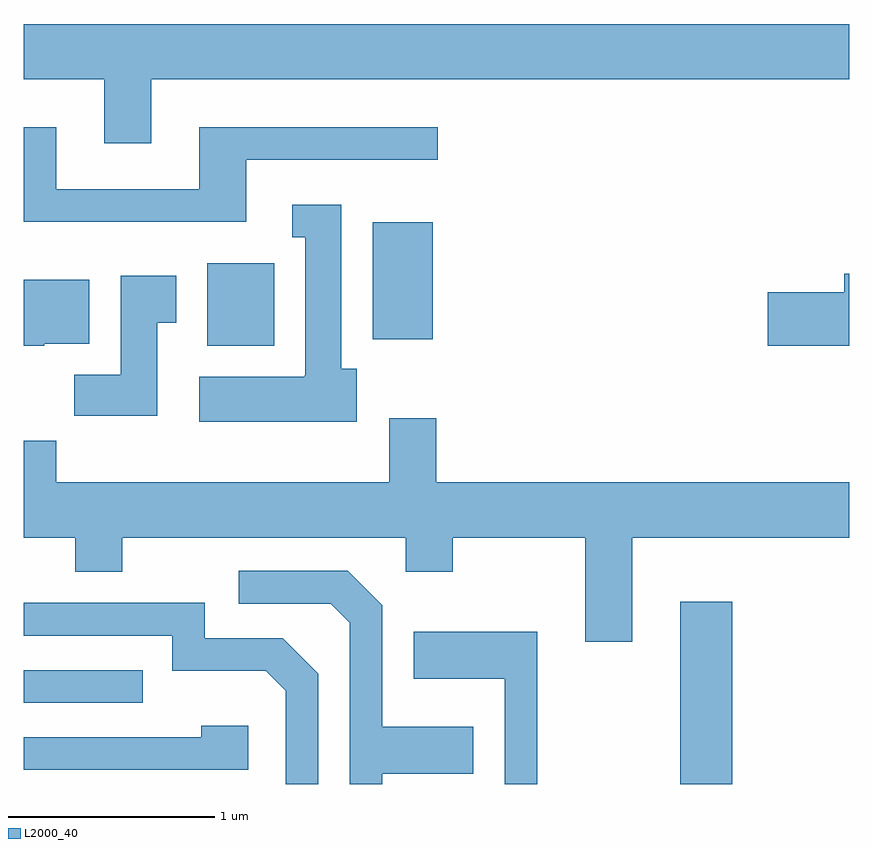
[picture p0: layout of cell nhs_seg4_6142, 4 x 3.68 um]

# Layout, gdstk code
import gdstk
lib = gdstk.Library(unit=1e-6, precision=1e-09)
def R(c, l, rs):  # rectangles x0, y0, x1, y1
    for r in rs: c.add(gdstk.rectangle(r[:2], r[2:], *l))
def P(c, l, *ps):  # polygons
    for p in ps: c.add(gdstk.Polygon(p, *l))
L2000_40 = (2000, 40)

nhs_seg4_6142 = lib.new_cell('nhs_seg4_6142')
R(nhs_seg4_6142, L2000_40, [(368.791,1297.982,369.044,1298.864), (365.611,1298.376,366.188,1298.534), (366.501,1300.106,366.824,1300.504), (367.301,1300.136,367.594,1300.704)])
P(nhs_seg4_6142, L2000_40, [(366.229,1301.396),(369.611,1301.396),(369.611,1301.664),(365.611,1301.664),(365.611,1301.396),(366.001,1301.396),(366.001,1301.086),(366.229,1301.086)],
  [(366.689,1301.006),(367.618,1301.006),(367.618,1301.164),(366.461,1301.164),(366.461,1300.864),(365.769,1300.864),(365.769,1301.164),(365.611,1301.164),(365.611,1300.706),(366.689,1300.706)],
  [(367.224,1299.994),(367.149,1299.994),(367.149,1300.789),(366.913,1300.789),(366.913,1300.631),(366.976,1300.631),(366.976,1299.96),(366.97,1299.96),(366.97,1299.954),(366.461,1299.954),(366.461,1299.736),(367.224,1299.736)],
  [(369.611,1300.454),(369.586,1300.454),(369.586,1300.364),(369.216,1300.364),(369.216,1300.106),(369.611,1300.106)],
  [(366.259,1300.216),(366.349,1300.216),(366.349,1300.444),(366.081,1300.444),(366.081,1299.964),(365.856,1299.964),(365.856,1299.766),(366.259,1299.766)],
  [(365.71,1300.116),(365.929,1300.116),(365.929,1300.424),(365.611,1300.424),(365.611,1300.106),(365.71,1300.106)],
  [(368.559,1299.176),(369.611,1299.176),(369.611,1299.444),(367.609,1299.444),(367.609,1299.754),(367.381,1299.754),(367.381,1299.444),(365.769,1299.444),(365.769,1299.644),(365.611,1299.644),(365.611,1299.176),(365.861,1299.176),(365.861,1299.011),(366.089,1299.011),(366.089,1299.176),(367.461,1299.176),(367.461,1299.011),(367.689,1299.011),(367.689,1299.176),(368.331,1299.176),(368.331,1298.671),(368.559,1298.671)],
  [(367.349,1298.031),(367.789,1298.031),(367.789,1298.259),(367.349,1298.259),(367.349,1298.847),(367.182,1299.014),(366.653,1299.014),(366.653,1298.856),(367.099,1298.856),(367.191,1298.764),(367.191,1297.982),(367.349,1297.982)],
  [(367.039,1298.517),(366.867,1298.689),(366.489,1298.689),(366.489,1298.859),(365.611,1298.859),(365.611,1298.701),(366.331,1298.701),(366.331,1298.531),(366.784,1298.531),(366.881,1298.434),(366.881,1297.982),(367.039,1297.982)],
  [(368.099,1298.719),(367.501,1298.719),(367.501,1298.491),(367.941,1298.491),(367.941,1297.982),(368.099,1297.982)],
  [(366.699,1298.264),(366.471,1298.264),(366.471,1298.209),(365.611,1298.209),(365.611,1298.051),(366.699,1298.051)])

lib.write_gds('nhs_seg4_6142.gds')
